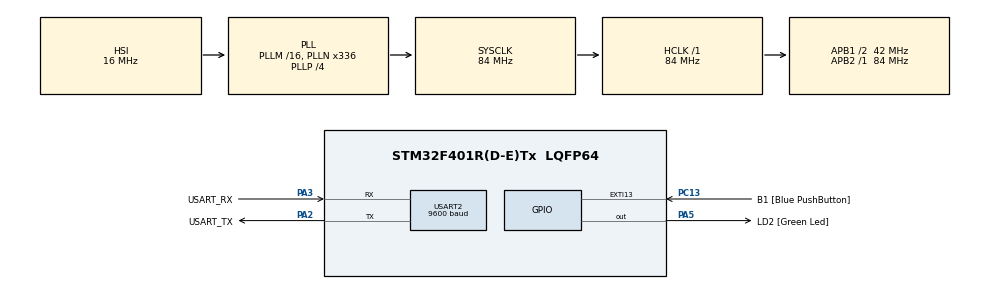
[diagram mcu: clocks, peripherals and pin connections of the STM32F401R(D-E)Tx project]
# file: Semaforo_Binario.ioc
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FREERTOS.BinarySemaphores01=NewBinarySem,Dynamic,NULL
FREERTOS.Tasks01=NormalTask,0,128,StartNormalTask,Default,NULL,Dynamic,NULL,NULL;HighTask,2,128,StartHighTask,Default,NULL,Dynamic,NULL,NULL;LowTask,-2,128,StartLowTask,Default,NULL,Dynamic,NULL,NULL
FREERTOS.configUSE_NEWLIB_REENTRANT=1
Mcu.Family=STM32F4
Mcu.Name=STM32F401R(D-E)Tx
Mcu.Package=LQFP64
NVIC.PriorityGroup=NVIC_PRIORITYGROUP_4
NVIC.TIM1_UP_TIM10_IRQn=true\:15\:0\:false\:false\:true\:false\:false\:true\:true
NVIC.TimeBase=TIM1_UP_TIM10_IRQn
NVIC.TimeBaseIP=TIM1
PA13.GPIO_Label=TMS
PA13.Mode=Serial_Wire
PA13.Signal=SYS_JTMS-SWDIO
PA14.GPIO_Label=TCK
PA14.Mode=Serial_Wire
PA14.Signal=SYS_JTCK-SWCLK
PA2.GPIO_Label=USART_TX
PA2.GPIO_Mode=GPIO_MODE_AF_PP
PA2.GPIO_PuPd=GPIO_NOPULL
PA2.GPIO_Speed=GPIO_SPEED_FREQ_LOW
PA2.Mode=Asynchronous
PA2.Signal=USART2_TX
PA3.GPIO_Label=USART_RX
PA3.GPIO_Mode=GPIO_MODE_AF_PP
PA3.GPIO_PuPd=GPIO_NOPULL
PA3.GPIO_Speed=GPIO_SPEED_FREQ_LOW
PA3.Mode=Asynchronous
PA3.Signal=USART2_RX
PA5.GPIO_Label=LD2 [Green Led]
PA5.GPIO_Mode=GPIO_MODE_OUTPUT_PP
PA5.GPIO_PuPd=GPIO_NOPULL
PA5.GPIO_Speed=GPIO_SPEED_FREQ_LOW
PA5.Signal=GPIO_Output
PB3.GPIO_Label=SWO
PB3.Signal=SYS_JTDO-SWO
PC13-ANTI_TAMP.GPIO_Label=B1 [Blue PushButton]
PC13-ANTI_TAMP.GPIO_ModeDefaultEXTI=GPIO_MODE_IT_FALLING
PC13-ANTI_TAMP.GPIO_PuPd=GPIO_NOPULL
PC13-ANTI_TAMP.Signal=GPXTI13
PC14-OSC32_IN.Mode=LSE-External-Oscillator
PC14-OSC32_IN.Signal=RCC_OSC32_IN
PC15-OSC32_OUT.Mode=LSE-External-Oscillator
PC15-OSC32_OUT.Signal=RCC_OSC32_OUT
PH0\ -\ OSC_IN.Mode=HSE-External-Clock-Source
PH0\ -\ OSC_IN.Signal=RCC_OSC_IN
PH1\ -\ OSC_OUT.Mode=HSE-External-Clock-Source
PH1\ -\ OSC_OUT.Signal=RCC_OSC_OUT
ProjectManager.HeapSize=0x200
ProjectManager.StackSize=0x400
ProjectManager.TargetToolchain=STM32CubeIDE
RCC.48MHZClocksFreq_Value=48000000
RCC.AHBFreq_Value=84000000
RCC.APB1CLKDivider=RCC_HCLK_DIV2
RCC.APB1Freq_Value=42000000
RCC.APB1TimFreq_Value=84000000
RCC.APB2Freq_Value=84000000
RCC.APB2TimFreq_Value=84000000
RCC.CortexFreq_Value=84000000
RCC.HCLKFreq_Value=84000000
RCC.HSE_VALUE=8000000
RCC.HSI_VALUE=16000000
RCC.PLLN=336
RCC.PLLP=RCC_PLLP_DIV4
RCC.PLLQ=7
RCC.SYSCLKFreq_VALUE=84000000
RCC.SYSCLKSource=RCC_SYSCLKSOURCE_PLLCLK
RCC.VCOOutputFreq_Value=336000000
USART2.BaudRate=9600
USART2.VirtualMode=VM_ASYNC
VP_FREERTOS_VS_CMSIS_V1.Mode=CMSIS_V1
VP_SYS_VS_tim1.Mode=TIM1
board=NUCLEO-F401RE

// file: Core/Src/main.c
/* USER CODE BEGIN Header */
/**
  ******************************************************************************
  * @file           : main.c
  * @brief          : Main program body
  ******************************************************************************
  * @attention
  *
  * Copyright (c) 2024 STMicroelectronics.
  * All rights reserved.
  *
  * This software is licensed under terms that can be found in the LICENSE file
  * in the root directory of this software component.
  * If no LICENSE file comes with this software, it is provided AS-IS.
  *
  ******************************************************************************
  */
/* USER CODE END Header */
#include "main.h"
#include "cmsis_os.h"

UART_HandleTypeDef huart2;

osThreadId NormalTaskHandle;
osThreadId HighTaskHandle;
osThreadId LowTaskHandle;
osSemaphoreId NewBinarySemHandle;

void SystemClock_Config(void);
static void MX_GPIO_Init(void);
static void MX_USART2_UART_Init(void);
void StartNormalTask(void const * argument);
void StartHighTask(void const * argument);
void StartLowTask(void const * argument);

int main(void)
{

  /* MCU Configuration--------------------------------------------------------*/

  /* Reset of all peripherals, Initializes the Flash interface and the Systick. */
  HAL_Init();

  /* Configure the system clock */
  SystemClock_Config();

  /* Initialize all configured peripherals */
  MX_GPIO_Init();
  MX_USART2_UART_Init();

  /* Create the semaphores(s) */
  /* definition and creation of NewBinarySem */
  osSemaphoreDef(NewBinarySem);
  NewBinarySemHandle = osSemaphoreCreate(osSemaphore(NewBinarySem), 1);

  /* Create the thread(s) */
  /* definition and creation of NormalTask */
  osThreadDef(NormalTask, StartNormalTask, osPriorityNormal, 0, 128);
  NormalTaskHandle = osThreadCreate(osThread(NormalTask), NULL);

  /* definition and creation of HighTask */
  osThreadDef(HighTask, StartHighTask, osPriorityHigh, 0, 128);
  HighTaskHandle = osThreadCreate(osThread(HighTask), NULL);

  /* definition and creation of LowTask */
  osThreadDef(LowTask, StartLowTask, osPriorityLow, 0, 128);
  LowTaskHandle = osThreadCreate(osThread(LowTask), NULL);

  /* Start scheduler */
  osKernelStart();

  /* We should never get here as control is now taken by the scheduler */
  /* Infinite loop */
  while (1)
  {

  }
}

void SystemClock_Config(void)
{
  RCC_OscInitTypeDef RCC_OscInitStruct = {0};
  RCC_ClkInitTypeDef RCC_ClkInitStruct = {0};

  /** Configure the main internal regulator output voltage
  */
  __HAL_RCC_PWR_CLK_ENABLE();
  __HAL_PWR_VOLTAGESCALING_CONFIG(PWR_REGULATOR_VOLTAGE_SCALE2);

  /** Initializes the RCC Oscillators according to the specified parameters
  * in the RCC_OscInitTypeDef structure.
  */
  RCC_OscInitStruct.OscillatorType = RCC_OSCILLATORTYPE_HSI;
  RCC_OscInitStruct.HSIState = RCC_HSI_ON;
  RCC_OscInitStruct.HSICalibrationValue = RCC_HSICALIBRATION_DEFAULT;
  RCC_OscInitStruct.PLL.PLLState = RCC_PLL_ON;
  RCC_OscInitStruct.PLL.PLLSource = RCC_PLLSOURCE_HSI;
  RCC_OscInitStruct.PLL.PLLM = 16;
  RCC_OscInitStruct.PLL.PLLN = 336;
  RCC_OscInitStruct.PLL.PLLP = RCC_PLLP_DIV4;
  RCC_OscInitStruct.PLL.PLLQ = 7;
  if (HAL_RCC_OscConfig(&RCC_OscInitStruct) != HAL_OK)
  {
    Error_Handler();
  }

  /** Initializes the CPU, AHB and APB buses clocks
  */
  RCC_ClkInitStruct.ClockType = RCC_CLOCKTYPE_HCLK|RCC_CLOCKTYPE_SYSCLK
                              |RCC_CLOCKTYPE_PCLK1|RCC_CLOCKTYPE_PCLK2;
  RCC_ClkInitStruct.SYSCLKSource = RCC_SYSCLKSOURCE_PLLCLK;
  RCC_ClkInitStruct.AHBCLKDivider = RCC_SYSCLK_DIV1;
  RCC_ClkInitStruct.APB1CLKDivider = RCC_HCLK_DIV2;
  RCC_ClkInitStruct.APB2CLKDivider = RCC_HCLK_DIV1;

  if (HAL_RCC_ClockConfig(&RCC_ClkInitStruct, FLASH_LATENCY_2) != HAL_OK)
  {
    Error_Handler();
  }
}

static void MX_USART2_UART_Init(void)
{

  huart2.Instance = USART2;
  huart2.Init.BaudRate = 9600;
  huart2.Init.WordLength = UART_WORDLENGTH_8B;
  huart2.Init.StopBits = UART_STOPBITS_1;
  huart2.Init.Parity = UART_PARITY_NONE;
  huart2.Init.Mode = UART_MODE_TX_RX;
  huart2.Init.HwFlowCtl = UART_HWCONTROL_NONE;
  huart2.Init.OverSampling = UART_OVERSAMPLING_16;
  if (HAL_UART_Init(&huart2) != HAL_OK)
  {
    Error_Handler();
  }

}

static void MX_GPIO_Init(void)
{
  GPIO_InitTypeDef GPIO_InitStruct = {0};

  /* GPIO Ports Clock Enable */
  __HAL_RCC_GPIOC_CLK_ENABLE();
  __HAL_RCC_GPIOH_CLK_ENABLE();
  __HAL_RCC_GPIOA_CLK_ENABLE();
  __HAL_RCC_GPIOB_CLK_ENABLE();

  /*Configure GPIO pin Output Level */
  HAL_GPIO_WritePin(LD2_GPIO_Port, LD2_Pin, GPIO_PIN_RESET);

  /*Configure GPIO pin : B1_Pin */
  GPIO_InitStruct.Pin = B1_Pin;
  GPIO_InitStruct.Mode = GPIO_MODE_IT_FALLING;
  GPIO_InitStruct.Pull = GPIO_NOPULL;
  HAL_GPIO_Init(B1_GPIO_Port, &GPIO_InitStruct);

  /*Configure GPIO pin : LD2_Pin */
  GPIO_InitStruct.Pin = LD2_Pin;
  GPIO_InitStruct.Mode = GPIO_MODE_OUTPUT_PP;
  GPIO_InitStruct.Pull = GPIO_NOPULL;
  GPIO_InitStruct.Speed = GPIO_SPEED_FREQ_LOW;
  HAL_GPIO_Init(LD2_GPIO_Port, &GPIO_InitStruct);

}

void StartNormalTask(void const * argument)
{
  /* USER CODE BEGIN 5 */
  /* Infinite loop */
  for(;;)
  {
	  uint8_t tx_buffer1[25] = "Entering Medium Task\n";
	  HAL_UART_Transmit(&huart2, tx_buffer1, 22, 100);

	  uint8_t tx_buffer2[25] = "Leaving Medium Task\n";
	  HAL_UART_Transmit(&huart2, tx_buffer2, 22, 100);
	  osDelay(1000);
  }
  /* USER CODE END 5 */
}

void StartHighTask(void const * argument)
{
  /* USER CODE BEGIN StartHighTask */
  /* Infinite loop */
  for(;;)
  {
	uint8_t tx_buffer1[20] = "Entering High Task\n";
	HAL_UART_Transmit(&huart2, tx_buffer1, 20, 100);

	uint8_t tx_buffer2[20] = "Leaving High Task\n";
    HAL_UART_Transmit(&huart2, tx_buffer2, 20, 100);
    osDelay(1000);
  }
  /* USER CODE END StartHighTask */
}

void StartLowTask(void const * argument)
{
  /* USER CODE BEGIN StartLowTask */
  /* Infinite loop */
  for(;;)
  {
	  uint8_t tx_buffer1[20] = "Entering Low Task\n";
	  HAL_UART_Transmit(&huart2, tx_buffer1, 20, 100);

	  uint8_t tx_buffer2[20] = "Leaving Low Task\n";
	  HAL_UART_Transmit(&huart2, tx_buffer2, 20, 100);
	  osDelay(1000);
  }
  /* USER CODE END StartLowTask */
}

void HAL_TIM_PeriodElapsedCallback(TIM_HandleTypeDef *htim)
{
  if (htim->Instance == TIM1) {
    HAL_IncTick();
  }
}

void Error_Handler(void)
{
  __disable_irq();
  while (1)
  {
  }
}
